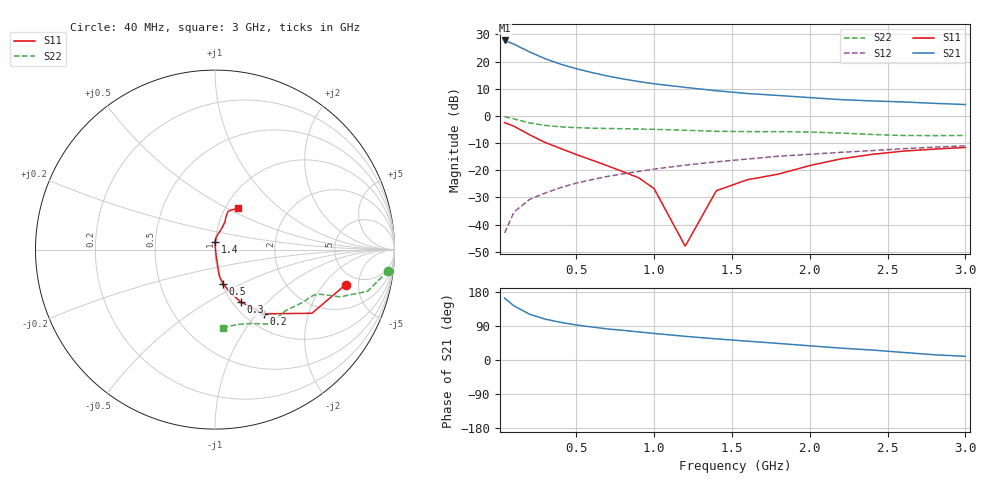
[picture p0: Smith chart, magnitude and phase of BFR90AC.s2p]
! Filename:  BFR90AC.S2P  Version:  2.0
! Philips part #: BFR90A  Date: Jul 1990
! Bias condition: Vce=5V,  Ic=10mA
#  MHz  S  MA  R  50
! Freq  S11  S21  S12  S22
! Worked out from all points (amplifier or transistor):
!   21 points, 40 MHz to 3 GHz, reference 50 ohm
!   highest |S21| = 27.8 dB at 40 MHz (marker M1)
!   |S21| within 3 dB of that: start of sweep to 157.2 MHz
!   unconditionally stable (mu >= 1): 716.7 MHz to end of sweep
!   at 300 MHz: K = 0.82, MSG = 24.7 dB, |S12| = -28.4 dB
!   at 1 GHz: K = 1.04, MAG = 14.5 dB, |S12| = -19.6 dB
!   at 3 GHz: K = 1.01, MAG = 7.1 dB, |S12| = -11.0 dB
!   S11 on the Smith chart (normalised r, x): 40 MHz: 3.86, -3.49; 200 MHz: 1.22, -1.09; 300 MHz: 1.09, -0.71; 500 MHz: 1.02, -0.40; 1.4 GHz: 1.00, +0.08; 3 GHz: 1.15, +0.57
40  0.754 -15.0  24.54 163.3  0.007 81.6  0.971 -7.0
100  0.646 -33.3  20.97 142.8  0.017 74.2  0.881 -15.3
200  0.451 -52.5  15.1 120.9  0.029 69.2  0.745 -20.7
300  0.325 -63.8  11.34 107.9  0.038 68.2  0.669 -22.2
400  0.251 -70.9  8.979 99.3  0.048 68.2  0.631 -23.2
500  0.195 -76.6  7.417 92.4  0.058 68.4  0.607 -24.7
600  0.154 -80.3  6.306 87.1  0.067 67.5  0.596 -26.0
700  0.121 -80.6  5.431 82.0  0.077 67.0  0.587 -27.5
800  0.094 -80.6  4.808 78.3  0.086 66.3  0.582 -28.8
900  0.073 -79.9  4.306 74.1  0.095 65.1  0.574 -30.2
1000  0.046 -80.3  3.908 70.1  0.105 64.0  0.567 -31.5
1200  0.004 54.5  3.357 62.5  0.124 60.9  0.545 -35.4
1400  0.042 88.7  2.912 55.7  0.143 57.4  0.521 -40.4
1600  0.067 84.8  2.587 49.7  0.161 55.3  0.515 -46.0
1800  0.085 79.8  2.379 43.7  0.181 52.5  0.513 -51.1
2000  0.122 72.5  2.177 37.4  0.197 48.9  0.506 -55.1
2200  0.162 70.3  1.996 31.4  0.214 45.9  0.484 -58.7
2400  0.196 71.5  1.89 26.3  0.23 43.0  0.456 -64.6
2600  0.225 71.2  1.812 20.0  0.249 39.3  0.437 -72.3
2800  0.245 65.8  1.705 13.8  0.266 36.0  0.434 -79.4
3000  0.263 60.7  1.622 9.7  0.282 33.6  0.437 -84.2
